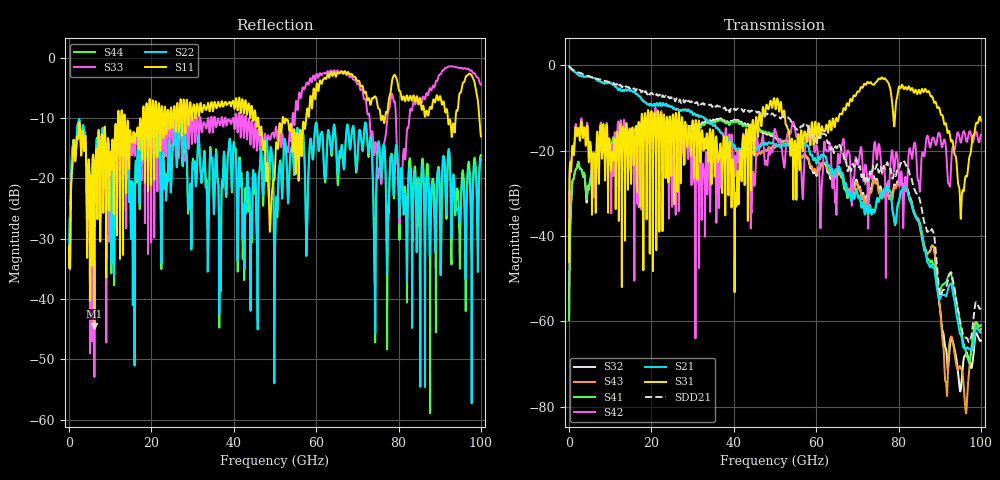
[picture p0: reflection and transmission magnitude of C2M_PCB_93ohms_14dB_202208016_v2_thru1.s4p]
! Info: Touchstone file created by Circ.  Input file=Intel_C2M_200G_3p5in_202208016_staggered.circ
# Hz S RI R 50
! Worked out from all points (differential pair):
!   10000 points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, 10 MHz to 100 GHz, reference 50 ohm
!   strongest paths, dB at 10 MHz, 25.01 GHz, 50.01 GHz, 75.01 GHz, 100 GHz:
!     S31: -46.1, -14.9, -9.1, -3.3, -12.9
!     S21: -0.2, -9.7, -18.7, -31.6, -62.6
!     S42: -46.1, -31.7, -14.9, -19.6, -16.3
!     S41: -59.6, -16.3, -16.5, -31.6, -60.9
!     S43: -0.2, -9.6, -19.2, -28.6, -61.8
!     S32: -59.6, -16.1, -16.9, -28.1, -64.5
!   taken as a pair (ports 1,3 in; 2,4 out), SDD21 dB: -0.2, -7.8, -11.8, -24.3, -56.9
!   lowest |S11| = -44.5 dB at 6.13 GHz (marker M1), VSWR 1.01, Z = 49.9 - j0.578 ohm
!   |S11| at or under -10 dB: start of sweep to 11.86 GHz; 45.9 GHz to 51.86 GHz (5.956 GHz wide, 12.2 % of centre); 52.05 GHz to 57.58 GHz (5.529 GHz wide, 10.1 % of centre)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
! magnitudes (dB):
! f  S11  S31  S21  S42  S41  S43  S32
! 10 MHz  -34.8  -46.1  -0.2  -46.1  -59.6  -0.2  -59.6
! 1.17 GHz  -13.7  -21.0  -1.4  -19.5  -26.2  -1.4  -26.2
! 6.13 GHz  -44.5  -21.4  -2.9  -27.5  -21.0  -2.9  -20.9
! 80.89 GHz  -7.0  -4.5  -29.3  -27.3  -29.5  -28.1  -27.8
! 91.54 GHz  -8.7  -13.7  -54.1  -19.7  -50.8  -74.2  -66.6
! 95.34 GHz  -5.1  -31.2  -64.0  -17.2  -62.7  -71.4  -73.8
! 100 GHz  -13.1  -12.9  -62.6  -16.3  -60.9  -61.8  -64.5
